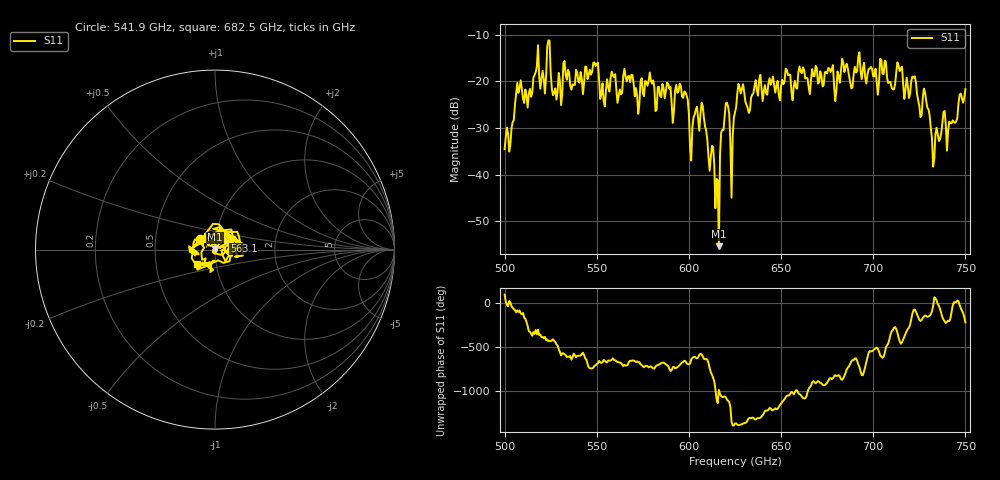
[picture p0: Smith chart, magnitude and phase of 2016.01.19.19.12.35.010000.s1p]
!Created with skrf (http://scikit-rf.org).
# GHz S RI R 50.0
!freq ReS11 ImS11
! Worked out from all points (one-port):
!   401 points, 500 GHz to 750 GHz, reference 50 ohm
!   lowest |S11| = -55.3 dB at 616.2 GHz (marker M1), VSWR 1.00, Z = 50 + j0.171 ohm
!   |S11| at or under -10 dB: start of sweep to end of sweep
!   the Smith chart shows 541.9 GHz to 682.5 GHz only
!   S11 on the Smith chart (normalised r, x): 541.9 GHz: 0.84, +0.10; 563.1 GHz: 1.11, +0.11; 682.5 GHz: 0.81, -0.13
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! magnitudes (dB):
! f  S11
! 500 GHz  -34.5
! 507.5 GHz  -22.5
! 513.8 GHz  -21.6
! 516.9 GHz  -18.0
! 531.2 GHz  -22.9
! 541.9 GHz  -19.5
! 549.4 GHz  -16.7
! 553.1 GHz  -20.4
! 558.8 GHz  -18.7
! 562.5 GHz  -21.7
! 563.1 GHz  -22.8
! 593.8 GHz  -22.4
! 601.2 GHz  -36.9
! 607.5 GHz  -25.3
! 615 GHz  -40.9
! 616.2 GHz  -55.3
! 620 GHz  -24.7
! 623.1 GHz  -44.9
! 625 GHz  -26.7
! 628.1 GHz  -22.6
! 656.2 GHz  -24.1
! 682.5 GHz  -17.8
! 687.5 GHz  -20.2
! 714.4 GHz  -17.8
! 718.8 GHz  -21.0
! 728.8 GHz  -24.2
! 732.5 GHz  -38.3
! 750 GHz  -21.7
